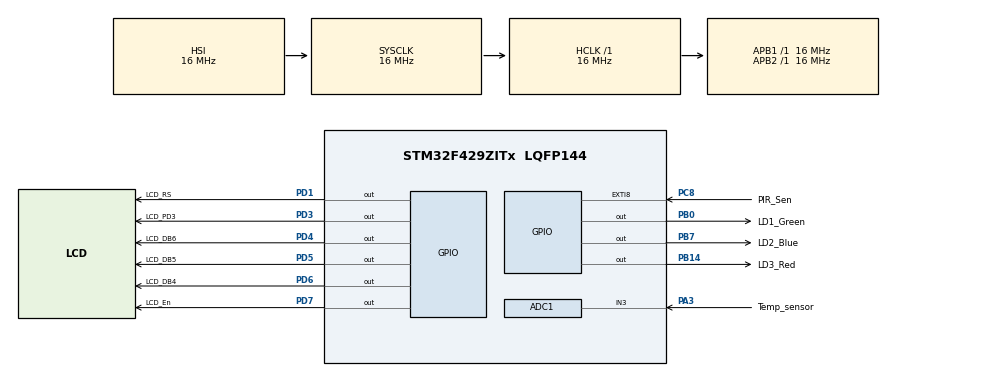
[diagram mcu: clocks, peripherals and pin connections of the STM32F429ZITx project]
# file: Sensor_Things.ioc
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ADC1.Channel-8\#ChannelRegularConversion=ADC_CHANNEL_3
ADC1.NbrOfConversionFlag=1
ADC1.Rank-8\#ChannelRegularConversion=1
ADC1.Resolution=ADC_RESOLUTION_10B
ADC1.SamplingTime-8\#ChannelRegularConversion=ADC_SAMPLETIME_3CYCLES
ADC1.master=1
Mcu.Family=STM32F4
Mcu.Name=STM32F429ZITx
Mcu.Package=LQFP144
NVIC.EXTI9_5_IRQn=true\:0\:0\:false\:false\:true\:true\:true
NVIC.PriorityGroup=NVIC_PRIORITYGROUP_4
NVIC.TIM2_IRQn=true\:0\:0\:false\:false\:true\:true\:true
PA3.GPIO_Label=Temp_sensor
PA3.Signal=ADCx_IN3
PB0.GPIO_Label=LD1_Green
PB0.Signal=GPIO_Output
PB14.GPIO_Label=LD3_Red
PB14.Signal=GPIO_Output
PB7.GPIO_Label=LD2_Blue
PB7.Signal=GPIO_Output
PC8.GPIO_Label=PIR_Sen
PC8.Signal=GPXTI8
PD1.GPIO_Label=LCD_RS
PD1.Signal=GPIO_Output
PD3.GPIO_Label=LCD_PD3
PD3.Signal=GPIO_Output
PD4.GPIO_Label=LCD_DB6
PD4.Signal=GPIO_Output
PD5.GPIO_Label=LCD_DB5
PD5.Signal=GPIO_Output
PD6.GPIO_Label=LCD_DB4
PD6.Signal=GPIO_Output
PD7.GPIO_Label=LCD_En
PD7.Signal=GPIO_Output
ProjectManager.HeapSize=0x200
ProjectManager.StackSize=0x400
ProjectManager.TargetToolchain=MDK-ARM V5.27
RCC.AHBFreq_Value=16000000
RCC.APB1Freq_Value=16000000
RCC.APB2Freq_Value=16000000
RCC.CortexFreq_Value=16000000
RCC.HSE_VALUE=25000000
RCC.HSI_VALUE=16000000
RCC.LSE_VALUE=32768
RCC.SYSCLKFreq_VALUE=16000000
RCC.VCOOutputFreq_Value=192000000
SH.ADCx_IN3.0=ADC1_IN3,IN3
TIM2.Period=21000
TIM2.Prescaler=999
VP_TIM2_VS_ClockSourceINT.Mode=Internal
board=custom

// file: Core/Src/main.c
/* USER CODE BEGIN Header */
/**
  ******************************************************************************
  * @file           : main.c
  * @brief          : Main program body
  ******************************************************************************
  * @attention
  *
  * <h2><center>&copy; Copyright (c) 2021 STMicroelectronics.
  * All rights reserved.</center></h2>
  *
  * This software component is licensed by ST under BSD 3-Clause license,
  * the "License"; You may not use this file except in compliance with the
  * License. You may obtain a copy of the License at:
  *                        opensource.org/licenses/BSD-3-Clause
  *
  ******************************************************************************
  */

/*Main task
Developer: Harry Hoa Huynh
Email: harry.hoa.huynh.01@gmail.com
Date: 4/4/2021
Version: 001
1. Read the temperature via debugging window
		*Temp sensor: PA3
2. Display the temperature via LCD
		*	RS	PD1
			EN	PD7
			DB4	PD6
			DB5	PD5
			DB6	PD4
			DB7	PD3
3. Set up PIR at PB8 as an Interrrupt. When detecting motion, turn all 3 LEDs on
		*PIR: PC8 | Use as GPIO_Input (not Interrupt)>Set it in Repeattable Trigger to prevent a defaut reset
		*3x on-board LED: PB0, PB7, PB14

		Component:
		1. STM Nucleo STM32F429ZI
		2. Temperature MCP9700A
		3. LCD HC16102
		4. PIR: 31227SC
*/
/* USER CODE END Header */
#include "main.h"

/* USER CODE BEGIN Includes */
#include <string.h>
#include <stdio.h>
// LCD related functions
void LCD_init(void);
void LCD_write(unsigned char data);
void place_lcd_cursor(unsigned char lineno);
void LCD_write_word(char data[], int length);
void LCD_write_decimal(double data, int length);
void LCD_Clear(void);
/* USER CODE END Includes */

ADC_HandleTypeDef hadc1;

TIM_HandleTypeDef htim2;

/* USER CODE BEGIN PV */
int PIR_interrupt_count;		//Count how many time the interrupt/motion detected for fun.
uint32_t ADC_value;
double temperature_value;
int PIR_value;
//int PIR_interrupt;
/* USER CODE END PV */

void SystemClock_Config(void);
static void MX_GPIO_Init(void);
static void MX_ADC1_Init(void);
static void MX_TIM2_Init(void);

/* USER CODE BEGIN 0 */
#define RS GPIO_PIN_1
#define EN GPIO_PIN_7

#define DB4 GPIO_PIN_6
#define DB5 GPIO_PIN_5
#define DB6 GPIO_PIN_4
#define DB7 GPIO_PIN_3
/* USER CODE END 0 */

int main(void)
{

  /* MCU Configuration--------------------------------------------------------*/

  /* Reset of all peripherals, Initializes the Flash interface and the Systick. */
  HAL_Init();

  /* Configure the system clock */
  SystemClock_Config();

  /* Initialize all configured peripherals */
  MX_GPIO_Init();
  MX_ADC1_Init();
  MX_TIM2_Init();
  /* USER CODE BEGIN 2 */
 // Start the LCD
	LCD_init();
	place_lcd_cursor(1);

	LCD_write_word("Starting", 8);
  /* USER CODE END 2 */

  /* Infinite loop */
  while (1)
  {

    /* USER CODE BEGIN 3 */

		HAL_ADC_Start(&hadc1);
		HAL_ADC_PollForConversion(&hadc1, HAL_MAX_DELAY);
		ADC_value = HAL_ADC_GetValue(&hadc1);
		temperature_value = ((ADC_value*3.3)/1024 -0.5)/0.01;		//Input of 3.3V to the Sensor | Sensor Output Calibrated with  0.5V offset (MCP9700/9700A datasheet)
    LCD_Clear();
		LCD_write_word("T:", 2);
		LCD_write_decimal(temperature_value,4);
		LCD_write_word(" C", 2);
		PIR_value = (HAL_GPIO_ReadPin(GPIOC, GPIO_PIN_8));
		//Reset all LED if there's no data
		if ((HAL_GPIO_ReadPin(GPIOC, GPIO_PIN_8)==0))
		{
			HAL_GPIO_WritePin(GPIOB, GPIO_PIN_0, 0);
			HAL_GPIO_WritePin(GPIOB, GPIO_PIN_7, 0);
			HAL_GPIO_WritePin(GPIOB, GPIO_PIN_14, 0);
		}

		HAL_Delay(100);

  }
  /* USER CODE END 3 */
}

void SystemClock_Config(void)
{
  RCC_OscInitTypeDef RCC_OscInitStruct = {0};
  RCC_ClkInitTypeDef RCC_ClkInitStruct = {0};

  /** Configure the main internal regulator output voltage
  */
  __HAL_RCC_PWR_CLK_ENABLE();
  __HAL_PWR_VOLTAGESCALING_CONFIG(PWR_REGULATOR_VOLTAGE_SCALE3);
  /** Initializes the RCC Oscillators according to the specified parameters
  * in the RCC_OscInitTypeDef structure.
  */
  RCC_OscInitStruct.OscillatorType = RCC_OSCILLATORTYPE_HSI;
  RCC_OscInitStruct.HSIState = RCC_HSI_ON;
  RCC_OscInitStruct.HSICalibrationValue = RCC_HSICALIBRATION_DEFAULT;
  RCC_OscInitStruct.PLL.PLLState = RCC_PLL_NONE;
  if (HAL_RCC_OscConfig(&RCC_OscInitStruct) != HAL_OK)
  {
    Error_Handler();
  }
  /** Initializes the CPU, AHB and APB buses clocks
  */
  RCC_ClkInitStruct.ClockType = RCC_CLOCKTYPE_HCLK|RCC_CLOCKTYPE_SYSCLK
                              |RCC_CLOCKTYPE_PCLK1|RCC_CLOCKTYPE_PCLK2;
  RCC_ClkInitStruct.SYSCLKSource = RCC_SYSCLKSOURCE_HSI;
  RCC_ClkInitStruct.AHBCLKDivider = RCC_SYSCLK_DIV1;
  RCC_ClkInitStruct.APB1CLKDivider = RCC_HCLK_DIV1;
  RCC_ClkInitStruct.APB2CLKDivider = RCC_HCLK_DIV1;

  if (HAL_RCC_ClockConfig(&RCC_ClkInitStruct, FLASH_LATENCY_0) != HAL_OK)
  {
    Error_Handler();
  }
}

static void MX_ADC1_Init(void)
{

  ADC_ChannelConfTypeDef sConfig = {0};

  /** Configure the global features of the ADC (Clock, Resolution, Data Alignment and number of conversion)
  */
  hadc1.Instance = ADC1;
  hadc1.Init.ClockPrescaler = ADC_CLOCK_SYNC_PCLK_DIV2;
  hadc1.Init.Resolution = ADC_RESOLUTION_10B;
  hadc1.Init.ScanConvMode = DISABLE;
  hadc1.Init.ContinuousConvMode = DISABLE;
  hadc1.Init.DiscontinuousConvMode = DISABLE;
  hadc1.Init.ExternalTrigConvEdge = ADC_EXTERNALTRIGCONVEDGE_NONE;
  hadc1.Init.ExternalTrigConv = ADC_SOFTWARE_START;
  hadc1.Init.DataAlign = ADC_DATAALIGN_RIGHT;
  hadc1.Init.NbrOfConversion = 1;
  hadc1.Init.DMAContinuousRequests = DISABLE;
  hadc1.Init.EOCSelection = ADC_EOC_SINGLE_CONV;
  if (HAL_ADC_Init(&hadc1) != HAL_OK)
  {
    Error_Handler();
  }
  /** Configure for the selected ADC regular channel its corresponding rank in the sequencer and its sample time.
  */
  sConfig.Channel = ADC_CHANNEL_3;
  sConfig.Rank = 1;
  sConfig.SamplingTime = ADC_SAMPLETIME_3CYCLES;
  if (HAL_ADC_ConfigChannel(&hadc1, &sConfig) != HAL_OK)
  {
    Error_Handler();
  }

}

static void MX_TIM2_Init(void)
{

  TIM_ClockConfigTypeDef sClockSourceConfig = {0};
  TIM_MasterConfigTypeDef sMasterConfig = {0};

  htim2.Instance = TIM2;
  htim2.Init.Prescaler = 999;
  htim2.Init.CounterMode = TIM_COUNTERMODE_UP;
  htim2.Init.Period = 21000;
  htim2.Init.ClockDivision = TIM_CLOCKDIVISION_DIV1;
  htim2.Init.AutoReloadPreload = TIM_AUTORELOAD_PRELOAD_DISABLE;
  if (HAL_TIM_Base_Init(&htim2) != HAL_OK)
  {
    Error_Handler();
  }
  sClockSourceConfig.ClockSource = TIM_CLOCKSOURCE_INTERNAL;
  if (HAL_TIM_ConfigClockSource(&htim2, &sClockSourceConfig) != HAL_OK)
  {
    Error_Handler();
  }
  sMasterConfig.MasterOutputTrigger = TIM_TRGO_RESET;
  sMasterConfig.MasterSlaveMode = TIM_MASTERSLAVEMODE_DISABLE;
  if (HAL_TIMEx_MasterConfigSynchronization(&htim2, &sMasterConfig) != HAL_OK)
  {
    Error_Handler();
  }

}

static void MX_GPIO_Init(void)
{
  GPIO_InitTypeDef GPIO_InitStruct = {0};

  /* GPIO Ports Clock Enable */
  __HAL_RCC_GPIOA_CLK_ENABLE();
  __HAL_RCC_GPIOB_CLK_ENABLE();
  __HAL_RCC_GPIOC_CLK_ENABLE();
  __HAL_RCC_GPIOD_CLK_ENABLE();

  /*Configure GPIO pin Output Level */
  HAL_GPIO_WritePin(GPIOB, LD1_Green_Pin|LD3_Red_Pin|LD2_Blue_Pin, GPIO_PIN_RESET);

  /*Configure GPIO pin Output Level */
  HAL_GPIO_WritePin(GPIOD, LCD_RS_Pin|LCD_PD3_Pin|LCD_DB6_Pin|LCD_DB5_Pin
                          |LCD_DB4_Pin|LCD_En_Pin, GPIO_PIN_RESET);

  /*Configure GPIO pins : LD1_Green_Pin LD3_Red_Pin LD2_Blue_Pin */
  GPIO_InitStruct.Pin = LD1_Green_Pin|LD3_Red_Pin|LD2_Blue_Pin;
  GPIO_InitStruct.Mode = GPIO_MODE_OUTPUT_PP;
  GPIO_InitStruct.Pull = GPIO_NOPULL;
  GPIO_InitStruct.Speed = GPIO_SPEED_FREQ_LOW;
  HAL_GPIO_Init(GPIOB, &GPIO_InitStruct);

  /*Configure GPIO pin : PIR_Sen_Pin */
  GPIO_InitStruct.Pin = PIR_Sen_Pin;
  GPIO_InitStruct.Mode = GPIO_MODE_IT_RISING;
  GPIO_InitStruct.Pull = GPIO_NOPULL;
  HAL_GPIO_Init(PIR_Sen_GPIO_Port, &GPIO_InitStruct);

  /*Configure GPIO pins : LCD_RS_Pin LCD_PD3_Pin LCD_DB6_Pin LCD_DB5_Pin
                           LCD_DB4_Pin LCD_En_Pin */
  GPIO_InitStruct.Pin = LCD_RS_Pin|LCD_PD3_Pin|LCD_DB6_Pin|LCD_DB5_Pin
                          |LCD_DB4_Pin|LCD_En_Pin;
  GPIO_InitStruct.Mode = GPIO_MODE_OUTPUT_PP;
  GPIO_InitStruct.Pull = GPIO_NOPULL;
  GPIO_InitStruct.Speed = GPIO_SPEED_FREQ_LOW;
  HAL_GPIO_Init(GPIOD, &GPIO_InitStruct);

  /* EXTI interrupt init*/
  HAL_NVIC_SetPriority(EXTI9_5_IRQn, 0, 0);
  HAL_NVIC_EnableIRQ(EXTI9_5_IRQn);

}

/* USER CODE BEGIN 4 */
/*******************************
 * LCD_init()
 * Inputs: NONE
 * Outputs: NONE
 * LCD Initialization
 * Read the manual carefully
 * We are doing initialization by instruction
 * Don't rush it.
 *******************************
 */

void LCD_init(){

// STEP 1: Wait for 100ms for power-on-reset to take effect
	HAL_Delay(100);
// STEP 2: Set RS pin LOW to send instructions
	HAL_GPIO_WritePin(GPIOD, RS, 0);
// Send instructions using following format:
// Set EN=HIGH; Send 4-bit instruction; Set EN=low; delay 20ms;

// STEP 3a-3d: Set 4-bit mode (takes a total of 4 steps)
	HAL_GPIO_WritePin(GPIOD, EN, 1);

	HAL_GPIO_WritePin(GPIOD, DB7, 0);
	HAL_GPIO_WritePin(GPIOD, DB6, 0);
	HAL_GPIO_WritePin(GPIOD, DB5, 1);
	HAL_GPIO_WritePin(GPIOD, DB4, 1);

	HAL_GPIO_WritePin(GPIOD, EN, 0);
	HAL_Delay(20);

	HAL_GPIO_WritePin(GPIOD, EN, 1);

	HAL_GPIO_WritePin(GPIOD, DB7, 0);
	HAL_GPIO_WritePin(GPIOD, DB6, 0);
	HAL_GPIO_WritePin(GPIOD, DB5, 1);
	HAL_GPIO_WritePin(GPIOD, DB4, 1);

	HAL_GPIO_WritePin(GPIOD, EN, 0);
	HAL_Delay(20);

	HAL_GPIO_WritePin(GPIOD, EN, 1);

	HAL_GPIO_WritePin(GPIOD, DB7, 0);
	HAL_GPIO_WritePin(GPIOD, DB6, 0);
	HAL_GPIO_WritePin(GPIOD, DB5, 1);
	HAL_GPIO_WritePin(GPIOD, DB4, 1);

	HAL_GPIO_WritePin(GPIOD, EN, 0);
	HAL_Delay(20);

	HAL_GPIO_WritePin(GPIOD, EN, 1);

	HAL_GPIO_WritePin(GPIOD, DB7, 0);
	HAL_GPIO_WritePin(GPIOD, DB6, 0);
	HAL_GPIO_WritePin(GPIOD, DB5, 1);
	HAL_GPIO_WritePin(GPIOD, DB4, 0);

	HAL_GPIO_WritePin(GPIOD, EN, 0);
	HAL_Delay(20);
// STEP 4: Set 2 line display -- treats 16 char as 2 lines
	HAL_GPIO_WritePin(GPIOD, EN, 1);

	HAL_GPIO_WritePin(GPIOD, DB7, 0);
	HAL_GPIO_WritePin(GPIOD, DB6, 0);
	HAL_GPIO_WritePin(GPIOD, DB5, 1);
	HAL_GPIO_WritePin(GPIOD, DB4, 0);

	HAL_GPIO_WritePin(GPIOD, EN, 0);
	HAL_Delay(20);

	HAL_GPIO_WritePin(GPIOD, EN, 1);

	HAL_GPIO_WritePin(GPIOD, DB7, 1);
	HAL_GPIO_WritePin(GPIOD, DB6, 0);
	HAL_GPIO_WritePin(GPIOD, DB5, 0);
	HAL_GPIO_WritePin(GPIOD, DB4, 0);

	HAL_GPIO_WritePin(GPIOD, EN, 0);
	HAL_Delay(20);
// STEP 5: Set DISPLAY to OFF
	HAL_GPIO_WritePin(GPIOD, EN, 1);

	HAL_GPIO_WritePin(GPIOD, DB7, 0);
	HAL_GPIO_WritePin(GPIOD, DB6, 0);
	HAL_GPIO_WritePin(GPIOD, DB5, 0);
	HAL_GPIO_WritePin(GPIOD, DB4, 0);

	HAL_GPIO_WritePin(GPIOD, EN, 0);
	HAL_Delay(20);

	HAL_GPIO_WritePin(GPIOD, EN, 1);

	HAL_GPIO_WritePin(GPIOD, DB7, 1);
	HAL_GPIO_WritePin(GPIOD, DB6, 0);
	HAL_GPIO_WritePin(GPIOD, DB5, 0);
	HAL_GPIO_WritePin(GPIOD, DB4, 0);

	HAL_GPIO_WritePin(GPIOD, EN, 0);
	HAL_Delay(20);
// STEP 6: CLEAR DISPLAY
	HAL_GPIO_WritePin(GPIOD, EN, 1);

	HAL_GPIO_WritePin(GPIOD, DB7, 0);
	HAL_GPIO_WritePin(GPIOD, DB6, 0);
	HAL_GPIO_WritePin(GPIOD, DB5, 0);
	HAL_GPIO_WritePin(GPIOD, DB4, 0);

	HAL_GPIO_WritePin(GPIOD, EN, 0);
	HAL_Delay(20);

	HAL_GPIO_WritePin(GPIOD, EN, 1);

	HAL_GPIO_WritePin(GPIOD, DB7, 0);
	HAL_GPIO_WritePin(GPIOD, DB6, 0);
	HAL_GPIO_WritePin(GPIOD, DB5, 0);
	HAL_GPIO_WritePin(GPIOD, DB4, 1);

	HAL_GPIO_WritePin(GPIOD, EN, 0);
	HAL_Delay(20);
// STEP 7: SET ENTRY MODE - Auto increment; no scrolling
	HAL_GPIO_WritePin(GPIOD, EN, 1);

	HAL_GPIO_WritePin(GPIOD, DB7, 0);
	HAL_GPIO_WritePin(GPIOD, DB6, 0);
	HAL_GPIO_WritePin(GPIOD, DB5, 0);
	HAL_GPIO_WritePin(GPIOD, DB4, 0);

	HAL_GPIO_WritePin(GPIOD, EN, 0);
	HAL_Delay(20);

	HAL_GPIO_WritePin(GPIOD, EN, 1);

	HAL_GPIO_WritePin(GPIOD, DB7, 0);
	HAL_GPIO_WritePin(GPIOD, DB6, 1);
	HAL_GPIO_WritePin(GPIOD, DB5, 1);
	HAL_GPIO_WritePin(GPIOD, DB4, 0);

	HAL_GPIO_WritePin(GPIOD, EN, 0);
	HAL_Delay(20);
// STEP 8: Set Display to ON with Cursor and Blink.
	HAL_GPIO_WritePin(GPIOD, EN, 1);

	HAL_GPIO_WritePin(GPIOD, DB7, 0);
	HAL_GPIO_WritePin(GPIOD, DB6, 0);
	HAL_GPIO_WritePin(GPIOD, DB5, 0);
	HAL_GPIO_WritePin(GPIOD, DB4, 0);

	HAL_GPIO_WritePin(GPIOD, EN, 0);
	HAL_Delay(20);

	HAL_GPIO_WritePin(GPIOD, EN, 1);

	HAL_GPIO_WritePin(GPIOD, DB7, 1);
	HAL_GPIO_WritePin(GPIOD, DB6, 1);
	HAL_GPIO_WritePin(GPIOD, DB5, 1);
	HAL_GPIO_WritePin(GPIOD, DB4, 1);

	HAL_GPIO_WritePin(GPIOD, EN, 0);
	HAL_Delay(20);

	HAL_GPIO_WritePin(GPIOD, RS, 1);
}

/*******************************
 * place_lcd_cursor()
 * Inputs: unsigned character
 * Outputs: NONE
 * sets Cursor position to
 * Line 1, character 1 (hex address 0x80)
 * or Line 2, character 1 (hex addres 0xC0)
 *
 *******************************
 */

void place_lcd_cursor(unsigned char lineno){
	HAL_GPIO_WritePin(GPIOD, RS, 0);
	if(lineno == 1){					//To place at line 1, send address 0x80
		HAL_GPIO_WritePin(GPIOD, EN, 1);

		HAL_GPIO_WritePin(GPIOD, DB7, 1);
		HAL_GPIO_WritePin(GPIOD, DB6, 0);
		HAL_GPIO_WritePin(GPIOD, DB5, 0);
		HAL_GPIO_WritePin(GPIOD, DB4, 0);

		HAL_GPIO_WritePin(GPIOD, EN, 0);
		HAL_Delay(20);

		HAL_GPIO_WritePin(GPIOD, EN, 1);

		HAL_GPIO_WritePin(GPIOD, DB7, 0);
		HAL_GPIO_WritePin(GPIOD, DB6, 0);
		HAL_GPIO_WritePin(GPIOD, DB5, 0);
		HAL_GPIO_WritePin(GPIOD, DB4, 0);

		HAL_GPIO_WritePin(GPIOD, EN, 0);
		HAL_Delay(1);
	}
	else{											//Place at line two, send address 0xC0
		HAL_GPIO_WritePin(GPIOD, EN, 1);

		HAL_GPIO_WritePin(GPIOD, DB7, 1);
		HAL_GPIO_WritePin(GPIOD, DB6, 1);
		HAL_GPIO_WritePin(GPIOD, DB5, 0);
		HAL_GPIO_WritePin(GPIOD, DB4, 0);

		HAL_GPIO_WritePin(GPIOD, EN, 0);
		HAL_Delay(20);

		HAL_GPIO_WritePin(GPIOD, EN, 1);

		HAL_GPIO_WritePin(GPIOD, DB7, 0);
		HAL_GPIO_WritePin(GPIOD, DB6, 0);
		HAL_GPIO_WritePin(GPIOD, DB5, 0);
		HAL_GPIO_WritePin(GPIOD, DB4, 0);

		HAL_GPIO_WritePin(GPIOD, EN, 0);
		HAL_Delay(1);
	}
	HAL_GPIO_WritePin(GPIOD, RS, 1);
}

/*******************************
 * LCD_write()
 * Inputs: unsigned character data (8-bit)
 * Outputs: NONE
 * writes the character to LCD.
 *
 *******************************
 */

void LCD_write(unsigned char data)
{
	HAL_GPIO_WritePin(GPIOD, RS, 1);

	HAL_GPIO_WritePin(GPIOD, EN, 1);
		//For each bit check if it is a one or zero and send output accordingly
		if(data & 0x80){
			HAL_GPIO_WritePin(GPIOD, DB7, 1);
		}
		else{
			HAL_GPIO_WritePin(GPIOD, DB7, 0);
		}
		if(data & 0x40){
			HAL_GPIO_WritePin(GPIOD, DB6, 1);
		}
		else{
			HAL_GPIO_WritePin(GPIOD, DB6, 0);
		}
		if(data & 0x20){
			HAL_GPIO_WritePin(GPIOD, DB5, 1);
		}
		else{
			HAL_GPIO_WritePin(GPIOD, DB5, 0);
		}
		if(data & 0x10){
			HAL_GPIO_WritePin(GPIOD, DB4, 1);
		}
		else{
			HAL_GPIO_WritePin(GPIOD, DB4, 0);
		}

		HAL_GPIO_WritePin(GPIOD, EN, 0);
		HAL_Delay(1);

		HAL_GPIO_WritePin(GPIOD, EN, 1);

		if(data & 0x08){
			HAL_GPIO_WritePin(GPIOD, DB7, 1);
		}
		else{
			HAL_GPIO_WritePin(GPIOD, DB7, 0);
		}
		if(data & 0x04){
			HAL_GPIO_WritePin(GPIOD, DB6, 1);
		}
		else{
			HAL_GPIO_WritePin(GPIOD, DB6, 0);
		}
		if(data & 0x02){
			HAL_GPIO_WritePin(GPIOD, DB5, 1);
		}
		else{
			HAL_GPIO_WritePin(GPIOD, DB5, 0);
		}
		if(data & 0x01){
			HAL_GPIO_WritePin(GPIOD, DB4, 1);
		}
		else{
			HAL_GPIO_WritePin(GPIOD, DB4, 0);
		}

		HAL_GPIO_WritePin(GPIOD, EN, 0);
		HAL_Delay(1);

	HAL_GPIO_WritePin(GPIOD, RS, 0);
}

/*******************************
 * LCD_write_word()
 * Inputs: string data and int length
 * Outputs: NONE
 * writes the string to LCD.
 *
 *******************************
 */

void LCD_write_word(char data[], int length){
	int i;
	//Send first 8 characters
	for(i = 0; i<length && i<8; i++){
		LCD_write(data[i]);
	}
	//If it is longer than 8 characters then change the line
	if(length > 8){
		place_lcd_cursor(2);
	}
	//Place remaining characters
	for(i = 8; i<length; i++){
		LCD_write(data[i]);
	}

}

/*******************************
 * LCD_write_decimal()
 * Inputs: double data and int length
 * Outputs: NONE
 * writes the data to LCD.
 *
 *******************************
 */

void LCD_write_decimal(double data, int length){
	char string[17];
	snprintf(string,length+1,"%f",data);
	LCD_write_word(string,length);
}

/*******************************
 * LCD_Clear()
 * Inputs: NONE
 * Outputs: NONE
 * clears the LCD and resets cursor
 *
 *******************************
 */
void LCD_Clear(void){
	//Send clear command, same as when initializing
	HAL_GPIO_WritePin(GPIOD, RS, 0);

	HAL_GPIO_WritePin(GPIOD, EN, 1);

	HAL_GPIO_WritePin(GPIOD, DB7, 0);
	HAL_GPIO_WritePin(GPIOD, DB6, 0);
	HAL_GPIO_WritePin(GPIOD, DB5, 0);
	HAL_GPIO_WritePin(GPIOD, DB4, 0);

	HAL_GPIO_WritePin(GPIOD, EN, 0);
	HAL_Delay(20);

	HAL_GPIO_WritePin(GPIOD, EN, 1);

	HAL_GPIO_WritePin(GPIOD, DB7, 0);
	HAL_GPIO_WritePin(GPIOD, DB6, 0);
	HAL_GPIO_WritePin(GPIOD, DB5, 0);
	HAL_GPIO_WritePin(GPIOD, DB4, 1);

	HAL_GPIO_WritePin(GPIOD, EN, 0);
	HAL_Delay(20);
	HAL_GPIO_WritePin(GPIOD, RS, 1);
}
/* USER CODE END 4 */

void Error_Handler(void)
{
  __disable_irq();
  while (1)
  {
  }
}

/************************ (C) COPYRIGHT STMicroelectronics *****END OF FILE****/
